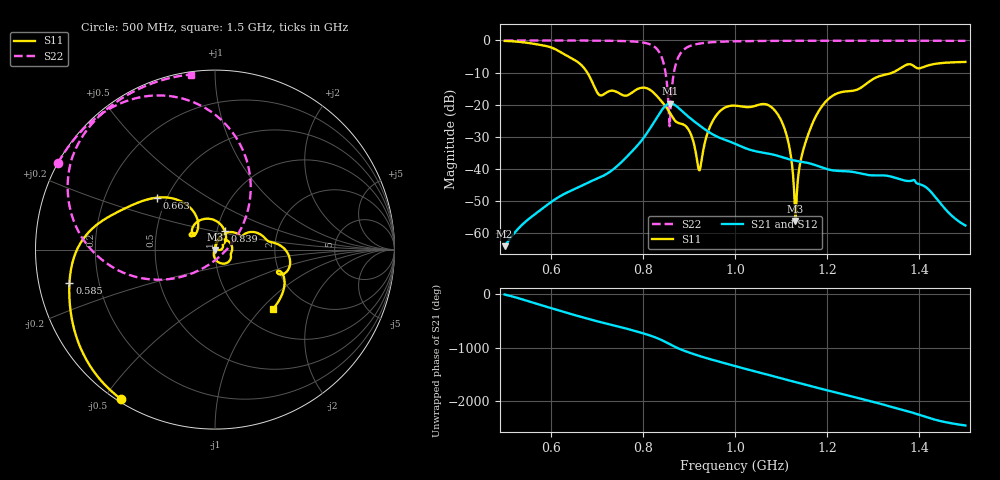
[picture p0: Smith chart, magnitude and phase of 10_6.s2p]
! TOUCHSTONE file generated by CST MICROWAVE STUDIO
! Date and time: Sat Oct 24 11:43:58 2020
! Project name: Scenario_1_Circular_Tissue_out_of_Line.cst
! Parameters = {dy1=-189.931; L_HA=400; MT=2.54; Rad_Dielectric=30; Rad_Lower=7.3; Rad_Upper=30; a_HA=580; a_WG=246; b_HA=500; b_WG=121; c_HA=0; c_WG=187; d_feed=85; dx1=1039; h_feed=15; h_lower=18; h_upper=40}
! Header version: 2018
! Port assignment regex: !\s*Touchstone port\s*([0-9]+)\s*=\s*(CST MWS port|CST DS port)\s*([0-9]+|Zmin|Zmax)\s*\(\"(.*)\"\)(\s*mode\s*([0-9]+))?.*
! Touchstone port assignment:
! Touchstone port 1 = CST MWS port 1 ("")
! Touchstone port 2 = CST MWS port 2 ("")
# GHz S DB R 50
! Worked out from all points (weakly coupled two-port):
!   1001 points, 500 MHz to 1.5 GHz, reference 50 ohm
!   highest |S21| = -19.69 dB at 859 MHz (marker M1); lowest = -64.1 dB at 500 MHz (marker M2)
!   lowest |S11| = -56.3 dB at 1.131 GHz (marker M3), VSWR 1.00, Z = 49.8 + j0.0294 ohm
!   |S11| at or under -10 dB: 679.3 MHz to 1.342 GHz (663 MHz wide, 65.6 % of centre)
!   |S22| runs from -26.7 to 0.0 dB; largest |S21 - S12| = 0.00054
!   S11 on the Smith chart (normalised r, x): 500 MHz: 0.01, -0.55; 585 MHz: 0.09, -0.11; 663 MHz: 0.44, +0.31; 839 MHz: 1.09, +0.23; 1.5 GHz: 1.38, -1.16
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0.5  -0.15 -122.2  -64.14 -3.6  -64.13 -4.5  -0.01 151.1
0.585  -1.60 -167.2  -52.08 142.6  -52.05 142.5  -0.02 145.2
0.663  -7.22 138.4  -45.59 -55.8  -45.58 -55.8  -0.04 138.7
0.667  -7.74 134.8  -45.31 -65.4  -45.31 -65.4  -0.04 138.3
0.707  -17.08 137.8  -42.70 -159.1  -42.70 -159.1  -0.07 134.0
0.788  -15.19 136.2  -32.79 19.7  -32.80 19.7  -0.43 117.7
0.834  -17.89 68.2  -23.22 -112.2  -23.22 -112.2  -3.30 83.6
0.839  -18.71 61.7  -22.13 -131.2  -22.12 -131.2  -4.58 75.5
0.859  -22.65 38.5  -19.69 140.9  -19.70 141.2  -24.89 -85.9
0.878  -25.77 32.9  -21.10 61.6  -21.11 61.6  -4.93 -169.2
0.902  -28.52 4.0  -24.15 -17.5  -24.15 -17.5  -1.75 166.9
0.923  -40.49 41.0  -26.49 -77.6  -26.50 -77.6  -0.98 156.8
0.954  -24.52 62.7  -29.48 -156.6  -29.46 -156.6  -0.52 148.1
1  -20.34 3.5  -32.20 92.8  -32.21 92.8  -0.27 140.2
1.092  -22.87 -75.6  -35.94 -118.1  -35.94 -118.2  -0.13 130.4
1.116  -31.87 -106.1  -36.99 -172.8  -36.98 -172.8  -0.11 128.3
1.131  -56.27 168.9  -37.50 154.2  -37.50 154.2  -0.11 127.1
1.167  -26.28 76.0  -38.53 71.8  -38.58 72.2  -0.10 124.2
1.211  -17.32 45.7  -40.48 -23.5  -40.47 -23.4  -0.09 120.8
1.334  -10.41 8.8  -42.29 60.4  -42.32 60.4  -0.09 111.4
1.412  -8.13 -19.0  -45.53 -134.2  -45.63 -133.6  -0.10 105.3
1.5  -6.71 -45.9  -57.70 58.3  -57.66 59.0  -0.13 97.8
